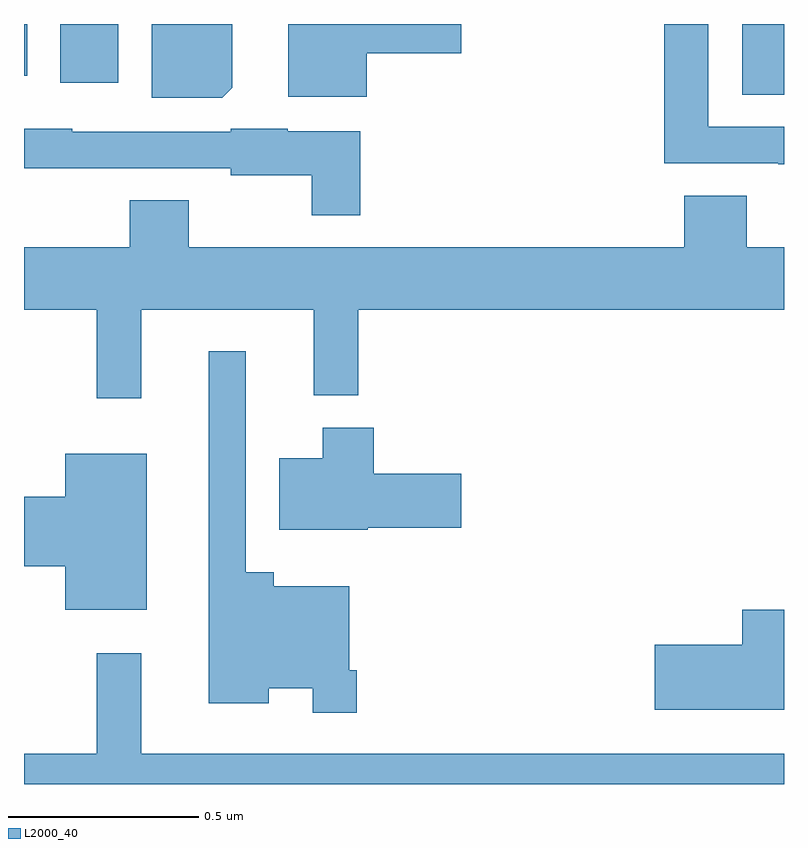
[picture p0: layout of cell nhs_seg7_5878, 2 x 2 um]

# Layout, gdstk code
import gdstk
lib = gdstk.Library(unit=1e-6, precision=1e-09)
def R(c, l, rs):  # rectangles x0, y0, x1, y1
    for r in rs: c.add(gdstk.rectangle(r[:2], r[2:], *l))
def P(c, l, *ps):  # polygons
    for p in ps: c.add(gdstk.Polygon(p, *l))
L2000_40 = (2000, 40)

nhs_seg7_5878 = lib.new_cell('nhs_seg7_5878')
R(nhs_seg7_5878, L2000_40, [(192.89,1035.814,193,1036), (191.096,1035.846,191.248,1036), (191,1035.864,191.008,1036)])
P(nhs_seg7_5878, L2000_40, [(191.548,1035.832),(191.548,1036),(191.336,1036),(191.336,1035.806),(191.522,1035.806)],
  [(191.902,1035.923),(192.151,1035.923),(192.151,1036),(191.696,1036),(191.696,1035.809),(191.902,1035.809)],
  [(193,1035.729),(192.801,1035.729),(192.801,1036),(192.685,1036),(192.685,1035.633),(192.985,1035.633),(192.985,1035.631),(193,1035.631)],
  [(191.885,1035.718),(191.694,1035.718),(191.694,1035.724),(191.544,1035.724),(191.544,1035.717),(191.127,1035.717),(191.127,1035.724),(191,1035.724),(191,1035.62),(191.127,1035.62),(191.127,1035.621),(191.544,1035.621),(191.544,1035.602),(191.757,1035.602),(191.757,1035.497),(191.885,1035.497)],
  [(191.309,1035.248),(191.762,1035.248),(191.762,1035.023),(191.879,1035.023),(191.879,1035.248),(193,1035.248),(193,1035.412),(192.902,1035.412),(192.902,1035.548),(192.737,1035.548),(192.737,1035.412),(191.433,1035.412),(191.433,1035.536),(191.278,1035.536),(191.278,1035.412),(191,1035.412),(191,1035.248),(191.191,1035.248),(191.191,1035.015),(191.309,1035.015)],
  [(191.876,1034.299),(191.856,1034.299),(191.856,1034.521),(191.657,1034.521),(191.657,1034.557),(191.583,1034.557),(191.583,1035.139),(191.486,1035.139),(191.486,1034.213),(191.644,1034.213),(191.644,1034.252),(191.76,1034.252),(191.76,1034.187),(191.876,1034.187)],
  [(191.904,1034.675),(192.151,1034.675),(192.151,1034.817),(191.921,1034.817),(191.921,1034.938),(191.786,1034.938),(191.786,1034.857),(191.672,1034.857),(191.672,1034.669),(191.904,1034.669)],
  [(191.323,1034.869),(191.108,1034.869),(191.108,1034.756),(191,1034.756),(191,1034.573),(191.108,1034.573),(191.108,1034.459),(191.323,1034.459)],
  [(193,1034.458),(192.89,1034.458),(192.89,1034.366),(192.66,1034.366),(192.66,1034.195),(193,1034.195)],
  [(193,1034.08),(191.308,1034.08),(191.308,1034.344),(191.191,1034.344),(191.191,1034.08),(191,1034.08),(191,1034),(193,1034)])

lib.write_gds('nhs_seg7_5878.gds')
